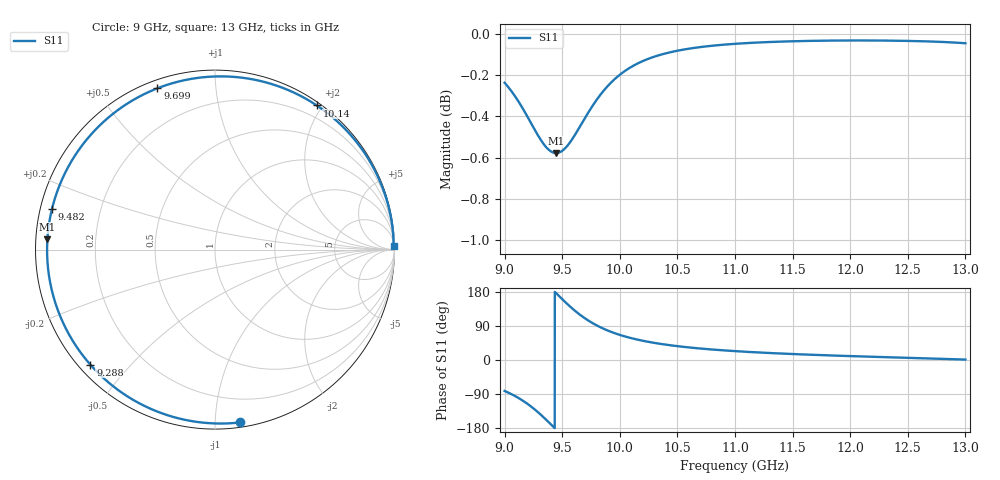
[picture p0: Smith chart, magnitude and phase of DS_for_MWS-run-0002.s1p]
! TOUCHSTONE file generated by CST DESIGN STUDIO
! Date and time: Tue Feb  4 16:21:42 2025
! Project name: C:\Work\MatlabApps\UnitCellOptimizationMatlab\CST\unitcell.cst
! Tree item: Tasks\Sweep1\SPara1\S-Parameters
! Header version: 2024
! Port assignment regex: !\s*Touchstone port\s*([0-9]+)\s*=\s*(CST MWS port|CST DES external port|CST DES block port)\s*(.+)\s* \(\"(.*)\"\)(\s*mode\s*([0-9]+))?.*
! Touchstone port assignment:
! Touchstone port 1 = CST DES external port 1 ("")
# GHz S MA R 50
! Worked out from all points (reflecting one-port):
!   4001 points, 9 GHz to 13 GHz, reference 50 ohm
!   lowest |S11| = -0.6 dB at 9.447 GHz (marker M1), VSWR 30.05, Z = 1.67 + j1.54 ohm
!   phase of S11 starts at -82 deg and turns -277 deg over the sweep
!   S11 on the Smith chart (normalised r, x): 9 GHz: 0.03, -1.16; 9.288 GHz: 0.03, -0.39; 9.482 GHz: 0.03, +0.12; 9.699 GHz: 0.04, +0.70; 10.14 GHz: 0.04, +1.93; 13 GHz: 24, +94
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9  0.9731 -81.6
9.089  0.9659 -94.8
9.161  0.9589 -107.9
9.226  0.9518 -121.9
9.288  0.9451 -137.3
9.333  0.9408 -149.6
9.373  0.9379 -161.2
9.41  0.9362 -172.3
9.447  0.9356 176.5
9.482  0.9361 165.9
9.5  0.9368 160.5
9.552  0.9399 145.5
9.6  0.9441 132.6
9.648  0.9489 120.9
9.699  0.9543 109.7
9.757  0.96 98.5
9.822  0.9658 87.8
9.908  0.9722 76.2
10  0.9775 66.2
10.139  0.9832 54.8
10.302  0.9875 45.0
10.5  0.9907 36.5
10.723  0.9929 29.6
11  0.9946 23.4
11.5  0.996 15.7
12  0.9964 10.3
12.5  0.9962 5.8
13  0.9949 1.1
